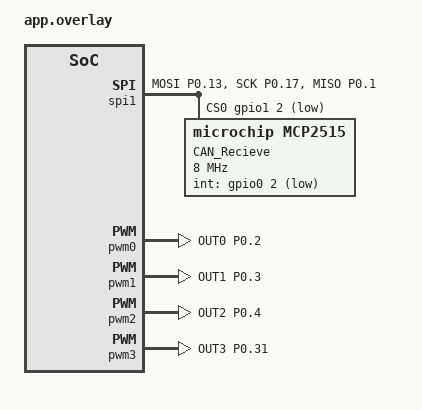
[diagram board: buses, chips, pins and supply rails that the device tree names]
// PWM relatert kode er skrevet av Erik-Andre Hegna
// CANBUS relatert kode er skrevet av Ola Andrup, og er dekt i stor grad i hans del i rapporten.

// Dette er en enhetstre overlay fil. Den brukes for å definere hardware-konfigurasjonen
// til kernelen under "runtime".

&spi1 {
	status = "okay";
	pinctrl-0 = <&spi1_default>;
	pinctrl-names = "default";
	cs-gpios = <&gpio1 2 GPIO_ACTIVE_LOW>;
	mcp2515_can: mcp2515@0 {
		compatible = "microchip,mcp2515";
        spi-max-frequency = <8000000>;
        int-gpios = <&gpio0 2 GPIO_ACTIVE_LOW>;
        status = "okay";
		label = "CAN_Recieve";
		reg = <0x0>;
		osc-freq = <16000000>;
		bus-speed = <125000>;
		sjw = <1>;
		prop-seg = <2>;
		phase-seg1 = <7>;
		phase-seg2 = <6>;
		#address-cells = <1>;
		#size-cells = <0>;

	};


};
// pinCtrl seksjonen definerer pin konfigurasjonen for de ulike periferene.
// pwmX_default_alt og pwmX_sleep_alt  er ulik konfigurasjoner eller moduser pinen kan ha.
// Den kan enten sove eller være aktiv. 

// For å vite hvilke GPIO port-nummer og PIN nummer i hver GPIO port som tilhører de ulike pinnene
// på microbiten sitt GPIO-brett er tabellen på denne nettsiden brukt:
// https://tech.microbit.org/hardware/edgeconnector/

&pinctrl {
    spi1_default: spi1_default {
		group1 {
			psels = <NRF_PSEL(SPIM_MOSI, 0, 13)>,
					<NRF_PSEL(SPIM_SCK, 0, 17)>,
					<NRF_PSEL(SPIM_MISO, 0, 1)>;
		};
	};
    // Atkiv modus for PWM kanal 0. PWM kanal 0 skal settes opp til å bruke PIN 1.
    // For å bruke PIN 1 må psels defineres. NRF_PSEL velger hvilke kanaler og pins som skal
    // brukes internt i NRF kortet:
    // PWM_OUT0 spesifiserer perifer-funksjonen som tilhører pinnen.
    // 0 velger hvilket GPIO port nummer som brukes
    // 2 viser til hvilket PIN som skal brukes i GPIO-porten
    // Sammen vil dette gjøre det mulig å sende PWM-signal på PIN 1 på GPIO-brettet ved å definere
    // hvilke "vei" signalet skal ta i microbiten sin chip.
    // nordic, invert definerer signaltypen som sendes på pinnen.
    pwm0_default_alt: pwm0_default_alt {
        group1  {
            psels = <NRF_PSEL(PWM_OUT0,0,2)>;
            nordic,invert;
        };
    };
    // Sovemodus for PWM kanal 0. Oppsettet for å bruke PIN 1 er den samme,
    // mens det er en forskjell i generert signaltype på pinnen ved sovemodus kontra 
    // aktiv modus.
    pwm0_sleep_alt: pwm0_sleep_alt_alt {
        group1  {
            psels = <NRF_PSEL(PWM_OUT0,0,2)>;
            low-power-enable;
        };
    };
    // Aktivmodus for PWM kanal 1. PWM kanal 1 skal settes opp til å bruke PIN 2 på GPIO-brettet.
    // Eneste forskjellen mellom aktiv modus for PWM kanal 0,1,2,3 er at de bruker unike perifer-funksjoner
    // og har egne pins.
	pwm1_default_alt: pwm1_default_alt {
        group1  {
            psels = <NRF_PSEL(PWM_OUT1,0,3)>;
            nordic,invert;
        };
    };
    //Sovemodus for PWM kanal 1. Oppsettet for å bruke PIN 2 på GPIO-brettet. 
    pwm1_sleep_alt: pwm1_sleep_alt_alt {
        group1  {
            psels = <NRF_PSEL(PWM_OUT1,0,3)>;
            low-power-enable;
        };
    };
    //Aktivmodus for PWM kanal 2. Oppsettet for å bruke PIN 3 på GPIO-brettet. 
	pwm2_default_alt: pwm2_default_alt {
        group1  {
            psels = <NRF_PSEL(PWM_OUT2,0,4)>;
            nordic,invert;
        };
    };
    //Sovemodus for PWM kanal 2. Oppsettet for å bruke PIN 3 på GPIO-brettet.
    pwm2_sleep_alt: pwm2_sleep_alt_alt {
        group1  {
            psels = <NRF_PSEL(PWM_OUT2,0,4)>;
            low-power-enable;
        };
    };
    //Aktivmodus for PWM kanal 3. Oppsettet for å bruke PIN 4 på GPIO-brettet.
	pwm3_default_alt: pwm3_default_alt {
        group1  {
            psels = <NRF_PSEL(PWM_OUT3,0,31)>;
            nordic,invert;
        };
    };
    //Sovemodus for PWM kanal 3. Oppsettet for å bruke PIN 4 på GPIO-brettet.
    pwm3_sleep_alt: pwm3_sleep_alt_alt {
        group1  {
            psels = <NRF_PSEL(PWM_OUT3,0,31)>;
            low-power-enable;
        };
    };
};

// PWM seksjonen under kommentarfeltet her konfigurerer hver PWM kanal.
// For å i det hele tatt klare å bruke konfigurasjonen må statusen til kanalen settes.
// Det er derfor viktig at når kanalen konfigureres, så settes statusen til "okay".
// pinctrl-0 og pinctrl-1 definerer hvilken modus kanalen skal alternere mellom når signal
// sendes gjennom kanalen.
// pinctrl-names navnsetter modusene slik at de blir enkelere å hente/bruke.
// label er en måte å enkelt hente kanal og GPIO konfigurasjonen i initialiserings-prosessen.
&pwm0 {
	status = "okay";
    pinctrl-0 = <&pwm0_default_alt>;
    pinctrl-1 = <&pwm0_sleep_alt>;
    pinctrl-names = "default", "sleep";

    label="PWM_0";
};
&pwm1 {
	status = "okay";
    pinctrl-0 = <&pwm1_default_alt>;
    pinctrl-1 = <&pwm1_sleep_alt>;
    pinctrl-names = "default", "sleep";

    label="PWM_1";
};
&pwm2 {
	status = "okay";
    pinctrl-0 = <&pwm2_default_alt>;
    pinctrl-1 = <&pwm2_sleep_alt>;
    pinctrl-names = "default", "sleep";

    label="PWM_2";
};
&pwm3 {
	status = "okay";
    pinctrl-0 = <&pwm3_default_alt>;
    pinctrl-1 = <&pwm3_sleep_alt>;
    pinctrl-names = "default", "sleep";

    label="PWM_3";
};
/ {
    chosen {
        zephyr,canbus = &mcp2515_can;
    };
};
